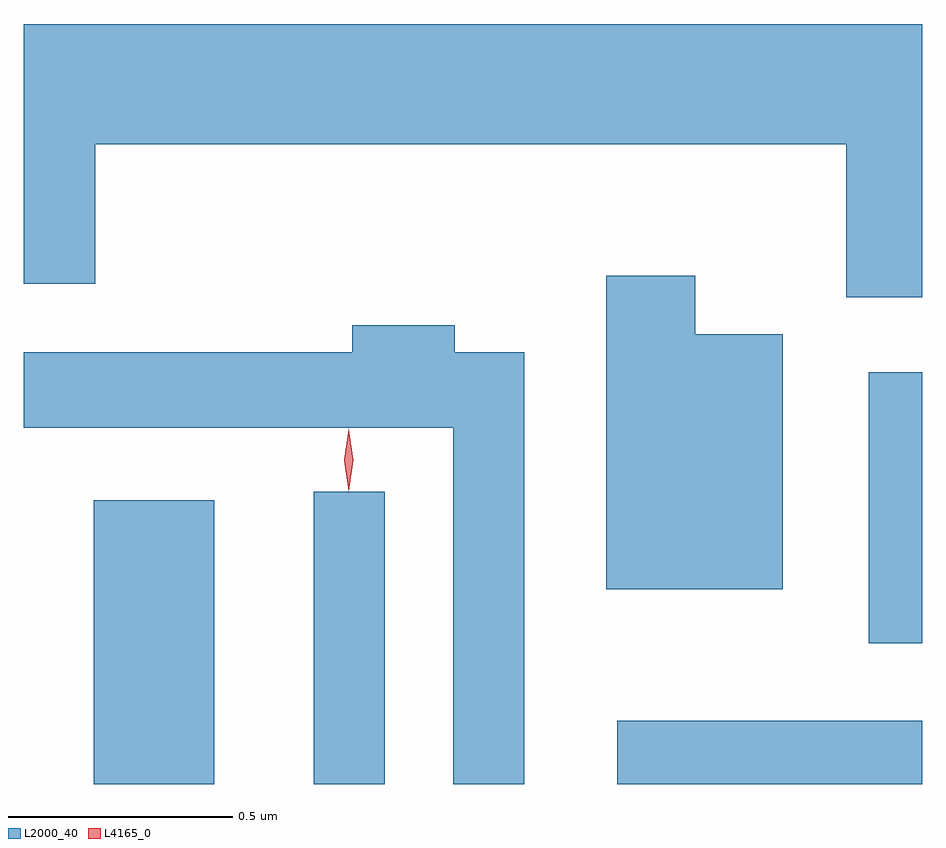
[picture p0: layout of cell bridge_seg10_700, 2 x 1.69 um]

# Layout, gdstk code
import gdstk
lib = gdstk.Library(unit=1e-6, precision=1e-09)
def R(c, l, rs):  # rectangles x0, y0, x1, y1
    for r in rs: c.add(gdstk.rectangle(r[:2], r[2:], *l))
def P(c, l, *ps):  # polygons
    for p in ps: c.add(gdstk.Polygon(p, *l))
L2000_40 = (2000, 40)
L4165_0 = (4165, 0)

bridge_seg10_700 = lib.new_cell('bridge_seg10_700')
R(bridge_seg10_700, L2000_40, [(868.686,2145.793,868.954,2146.424), (869.176,2145.793,869.334,2146.443), (869.851,2145.793,870.53,2145.934), (870.411,2146.106,870.53,2146.709)])
P(bridge_seg10_700, L2000_40, [(870.53,2147.484),(868.53,2147.484),(868.53,2146.906),(868.689,2146.906),(868.689,2147.216),(870.361,2147.216),(870.361,2146.876),(870.53,2146.876)],
  [(870.219,2146.794),(870.024,2146.794),(870.024,2146.924),(869.826,2146.924),(869.826,2146.226),(870.219,2146.226)],
  [(869.644,2146.754),(869.489,2146.754),(869.489,2146.814),(869.261,2146.814),(869.261,2146.754),(868.53,2146.754),(868.53,2146.586),(869.486,2146.586),(869.486,2145.793),(869.644,2145.793)])
P(bridge_seg10_700, L4165_0, [(869.253,2146.447),(869.253,2146.447),(869.243,2146.514),(869.253,2146.58),(869.253,2146.58),(869.254,2146.58),(869.263,2146.514),(869.254,2146.447)],
  [(869.253,2146.443),(869.253,2146.444),(869.243,2146.513),(869.253,2146.582),(869.253,2146.583),(869.254,2146.582),(869.263,2146.513),(869.254,2146.444)])

lib.write_gds('bridge_seg10_700.gds')
